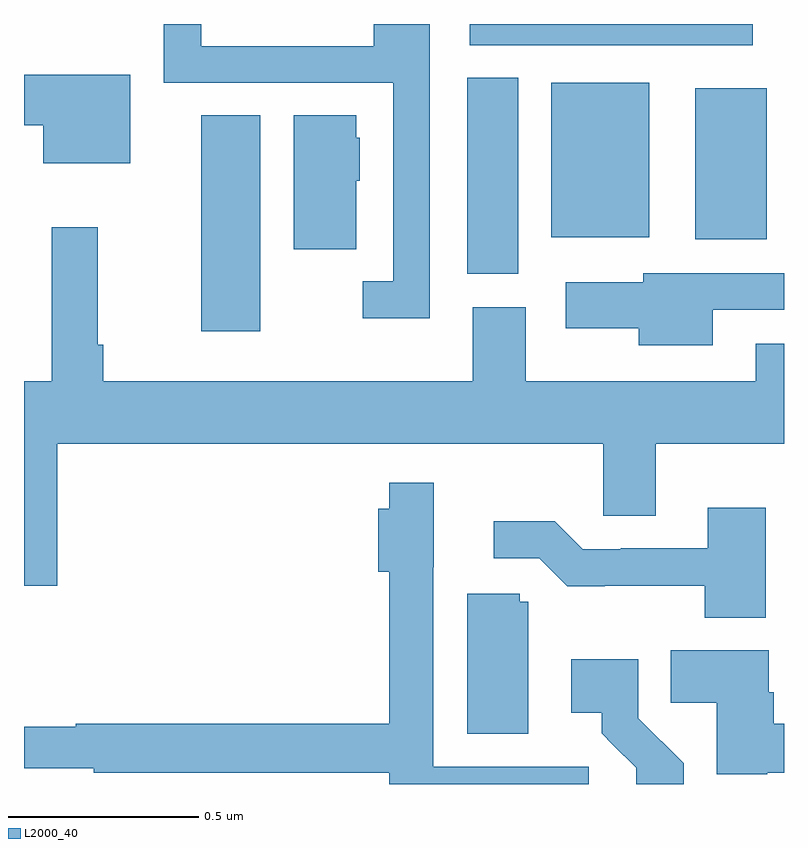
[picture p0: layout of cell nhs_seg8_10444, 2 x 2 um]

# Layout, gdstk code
import gdstk
lib = gdstk.Library(unit=1e-6, precision=1e-09)
def R(c, l, rs):  # rectangles x0, y0, x1, y1
    for r in rs: c.add(gdstk.rectangle(r[:2], r[2:], *l))
def P(c, l, *ps):  # polygons
    for p in ps: c.add(gdstk.Polygon(p, *l))
L2000_40 = (2000, 40)

nhs_seg8_10444 = lib.new_cell('nhs_seg8_10444')
R(nhs_seg8_10444, L2000_40, [(249.467,1154.091,249.622,1154.66), (250.166,1154.243,250.3,1154.759), (250.766,1154.333,250.954,1154.731), (250.388,1154.339,250.645,1154.746), (250.173,1154.844,250.918,1154.9)])
P(nhs_seg8_10444, L2000_40, [(250.068,1154.9),(249.92,1154.9),(249.92,1154.841),(249.466,1154.841),(249.466,1154.9),(249.368,1154.9),(249.368,1154.745),(249.972,1154.745),(249.972,1154.223),(249.891,1154.223),(249.891,1154.126),(250.068,1154.126)],
  [(249.28,1154.767),(249,1154.767),(249,1154.633),(249.05,1154.633),(249.05,1154.534),(249.28,1154.534)],
  [(249.874,1154.487),(249.883,1154.487),(249.883,1154.601),(249.874,1154.601),(249.874,1154.66),(249.71,1154.66),(249.71,1154.307),(249.874,1154.307)],
  [(249.088,1153.796),(250.524,1153.796),(250.524,1153.606),(250.663,1153.606),(250.663,1153.796),(251,1153.796),(251,1154.059),(250.925,1154.059),(250.925,1153.96),(250.321,1153.96),(250.321,1154.155),(250.181,1154.155),(250.181,1153.96),(249.209,1153.96),(249.209,1154.056),(249.194,1154.056),(249.194,1154.365),(249.073,1154.365),(249.073,1153.96),(249,1153.96),(249,1153.422),(249.088,1153.422)],
  [(250.813,1154.148),(251,1154.148),(251,1154.244),(250.629,1154.244),(250.629,1154.221),(250.425,1154.221),(250.425,1154.099),(250.618,1154.099),(250.618,1154.054),(250.813,1154.054)],
  [(250.486,1152.945),(250.077,1152.945),(250.077,1153.47),(250.078,1153.47),(250.078,1153.693),(249.961,1153.693),(249.961,1153.624),(249.932,1153.624),(249.932,1153.459),(249.961,1153.459),(249.961,1153.058),(249.136,1153.058),(249.136,1153.051),(249,1153.051),(249,1152.942),(249.184,1152.942),(249.184,1152.93),(249.961,1152.93),(249.961,1152.9),(250.486,1152.9)],
  [(250.952,1153.627),(250.799,1153.627),(250.799,1153.521),(250.57,1153.521),(250.57,1153.518),(250.47,1153.518),(250.397,1153.591),(250.236,1153.591),(250.236,1153.494),(250.356,1153.494),(250.429,1153.421),(250.528,1153.421),(250.528,1153.422),(250.792,1153.422),(250.792,1153.337),(250.952,1153.337)],
  [(250.327,1153.38),(250.305,1153.38),(250.305,1153.401),(250.166,1153.401),(250.166,1153.032),(250.327,1153.032)],
  [(250.956,1152.93),(251,1152.93),(251,1153.058),(250.973,1153.058),(250.973,1153.142),(250.96,1153.142),(250.96,1153.252),(250.702,1153.252),(250.702,1153.114),(250.823,1153.114),(250.823,1152.926),(250.956,1152.926)],
  [(250.736,1152.954),(250.617,1153.073),(250.617,1153.228),(250.44,1153.228),(250.44,1153.088),(250.52,1153.088),(250.52,1153.033),(250.548,1153.005),(250.611,1152.943),(250.611,1152.9),(250.736,1152.9)])

lib.write_gds('nhs_seg8_10444.gds')
